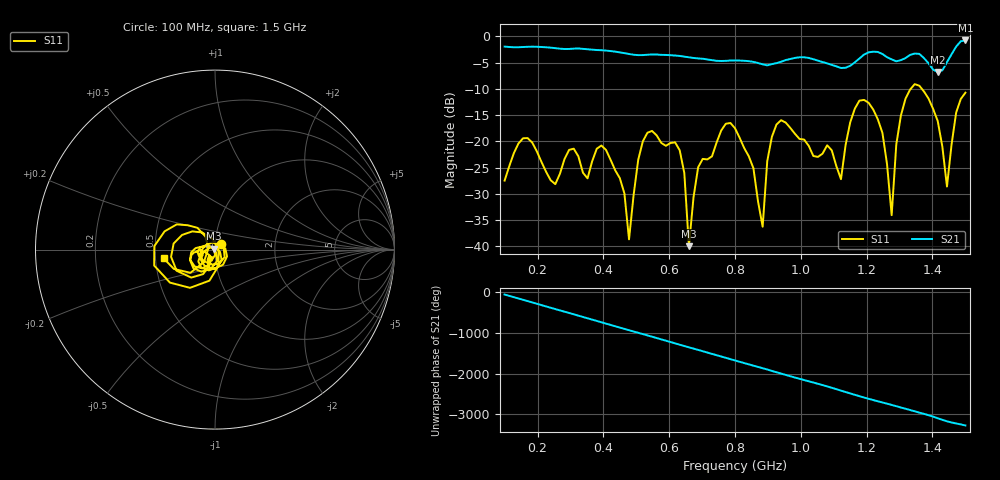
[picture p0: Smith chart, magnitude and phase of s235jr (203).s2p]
! NanoVNA-App
! Date: 2025-09-25 15:05:44
! Start: 100MHz Stop: 1,5GHz Points: 101
! S-Parameter data: F S11 S21 S12 S22
# Hz S RI R 50
!  Frequency  S11_Real  S11_Imag  S21_Real  S21_Imag  S12_Real  S12_Imag  S22_Real  S22_Imag
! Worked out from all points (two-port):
!   101 points, 100 MHz to 1.5 GHz, reference 50 ohm
!   highest |S21| = -0.79 dB at 1.5 GHz (marker M1); lowest = -6.8 dB at 1.416 GHz (marker M2)
!   |S21| within 3 dB of the highest: start of sweep to 637.5 MHz; 1.186 GHz to 1.258 GHz (71.53 MHz wide, 5.85 % of centre) (the widest 2 of 4)
!   lowest |S11| = -40.0 dB at 660 MHz (marker M3), VSWR 1.02, Z = 49.2 + j0.565 ohm
!   |S11| at or under -10 dB: start of sweep to 1.334 GHz; 1.368 GHz to end of sweep
!   S12 and S22 are empty: the file has one direction only
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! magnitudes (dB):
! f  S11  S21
! 100 MHz  -27.5  -2.0
! 156 MHz  -19.4  -2.0
! 338 MHz  -26.0  -2.4
! 408 MHz  -21.6  -2.7
! 478 MHz  -38.7  -3.4
! 520 MHz  -20.0  -3.6
! 576 MHz  -20.3  -3.5
! 632 MHz  -21.7  -3.7
! 660 MHz  -40.0  -4.0
! 688 MHz  -24.9  -4.2
! 800 MHz  -17.5  -4.6
! 884 MHz  -36.3  -5.3
! 926 MHz  -16.8  -5.1
! 1.038 GHz  -22.8  -4.4
! 1.122 GHz  -27.2  -6.0
! 1.206 GHz  -12.7  -3.1
! 1.248 GHz  -18.4  -3.4
! 1.276 GHz  -34.0  -4.4
! 1.318 GHz  -11.9  -4.2
! 1.416 GHz  -16.1  -6.8
! 1.444 GHz  -28.6  -4.9
! 1.5 GHz  -10.7  -0.8
